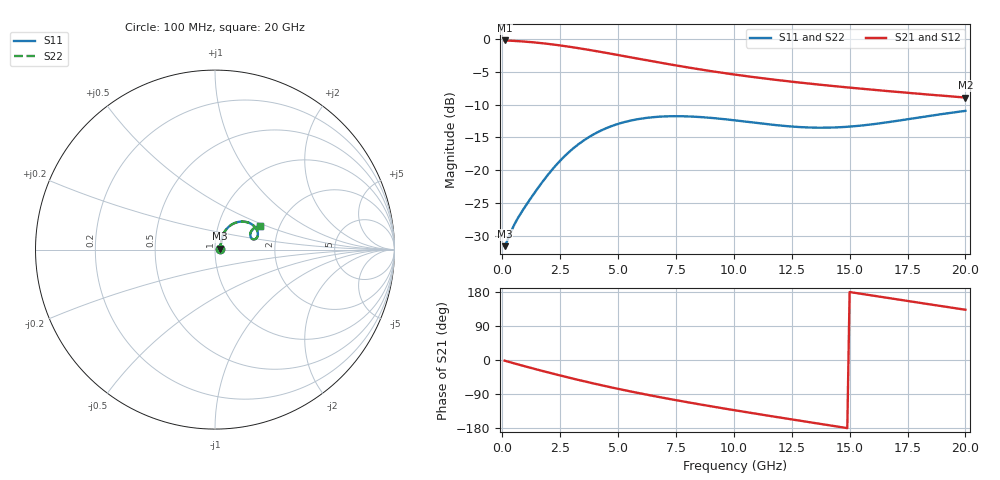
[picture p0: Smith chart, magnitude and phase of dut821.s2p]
! Touchstone file exported from HFSS 2024.1.0
!  File:  C:/UserFiles/LocalFiles/RDL_TSV_Batchsim/temp_RDL_TSV_821_1779915038.aedt
!  Generated:  05:07:20 AM May 28, 2026
!  Design:  RDL_TSV
!  Project:  temp_RDL_TSV_821_1779915038
!  Setup:  Setup1
!  Solution:  Sweep
! Variables:
!  dtsv = 5.55um
!  hbump = 3um
!  htsv = 63.95um
!  ldown = 452.64um
!  lrdl = 544.61um
!  p = 40
!  p1 = 42.45um
!  rhole = 10um
!  subl = 3536.36um
!  t = 450um
!  tdown = 2.29um
!  trdl = 2.16um
!  viad = 10um
!  wdown = 19.17um
!  wrdl = 26.42um
!  xbump = 18um
# GHz S MA R 50.000000
! Terminal data exported
! Port[1] = TM1_1_T1
! Port[2] = TM1_4_T1
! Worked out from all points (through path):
!   200 points, 100 MHz to 20 GHz, reference 50 ohm
!   highest |S21| = -0.23 dB at 100 MHz (marker M1); lowest = -8.9 dB at 20 GHz (marker M2)
!   group delay of S21, straight-line fit = 30.2 ps
!   lowest |S11| = -31.6 dB at 100 MHz (marker M3), VSWR 1.05, Z = 52.7 + j0.56 ohm
!   |S11| at or under -10 dB: start of sweep to end of sweep
!   |S22| runs from -31.6 to -11.0 dB; largest |S21 - S12| = 1.3e-14
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0.1  0.02639 11.6  0.974 -1.8  0.974 -1.8  0.02639 11.6
! Gamma 0 0 0 0
! Port Impedance 50 0 50 0
0.5  0.03791 37.0  0.9668 -8.7  0.9668 -8.7  0.03791 37.0
0.7  0.04396 43.0  0.962 -12.1  0.962 -12.1  0.04396 43.0
1.2  0.0601 53.8  0.9475 -20.3  0.9475 -20.3  0.06011 53.8
1.7  0.08 59.8  0.9291 -28.4  0.9291 -28.4  0.08001 59.8
2.2  0.1033 61.8  0.9071 -36.3  0.9071 -36.3  0.1033 61.8
2.6  0.1233 61.3  0.8876 -42.4  0.8876 -42.4  0.1233 61.3
3  0.1435 59.6  0.8667 -48.4  0.8667 -48.4  0.1434 59.6
3.5  0.1678 56.3  0.8393 -55.7  0.8393 -55.7  0.1677 56.3
4.2  0.1981 50.6  0.7998 -65.5  0.7998 -65.5  0.198 50.6
5  0.2253 43.7  0.7547 -76.1  0.7547 -76.1  0.2252 43.7
5.9  0.2456 36.2  0.7058 -87.4  0.7058 -87.4  0.2454 36.2
6.8  0.2558 29.6  0.6607 -98.1  0.6607 -98.1  0.2556 29.5
7.6  0.258 24.6  0.6242 -107.1  0.6242 -107.1  0.2577 24.5
8.4  0.2551 20.5  0.5915 -115.7  0.5915 -115.7  0.2547 20.5
10.1  0.2392 15.4  0.5335 -133.3  0.5335 -133.3  0.2388 15.3
11.7  0.2217 14.9  0.4906 -149.0  0.4906 -149.0  0.2211 15.0
13.4  0.2112 18.6  0.4542 -165.4  0.4542 -165.4  0.2105 18.7
15  0.2149 23.6  0.4259 179.3  0.4259 179.3  0.2143 23.8
16.7  0.2328 27.6  0.3999 163.3  0.3999 163.3  0.2323 27.8
18.4  0.2585 28.7  0.3771 147.4  0.3771 147.4  0.2582 28.8
20  0.2831 27.3  0.3579 132.7  0.3579 132.7  0.2829 27.5
